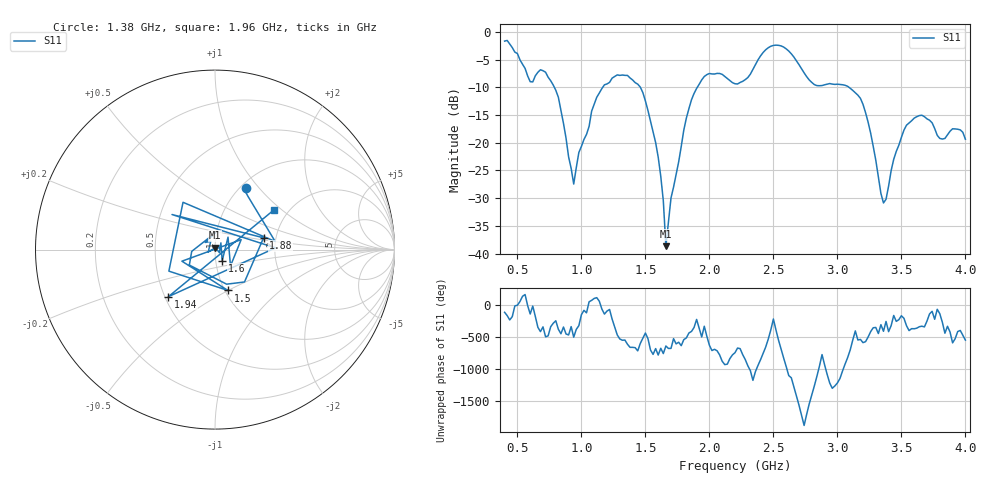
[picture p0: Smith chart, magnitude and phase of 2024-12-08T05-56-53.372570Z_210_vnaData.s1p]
!Created with skrf (http://scikit-rf.org).
# Hz S RI R 50.0
!freq ReS11 ImS11
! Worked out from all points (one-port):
!   181 points, 400 MHz to 4 GHz, reference 50 ohm
!   lowest |S11| = -38.7 dB at 1.66 GHz (marker M1), VSWR 1.02, Z = 50.1 + j1.16 ohm
!   |S11| at or under -10 dB: 788.7 MHz to 1.166 GHz (377.7 MHz wide, 38.6 % of centre); 1.461 GHz to 1.905 GHz (444.2 MHz wide, 26.4 % of centre); 3.091 GHz to end of sweep
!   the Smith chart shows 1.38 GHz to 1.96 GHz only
!   S11 on the Smith chart (normalised r, x): 1.38 GHz: 1.06, +0.85; 1.5 GHz: 1.03, -0.50; 1.6 GHz: 1.07, -0.13; 1.88 GHz: 1.72, +0.24; 1.94 GHz: 0.52, -0.32; 1.96 GHz: 1.69, +0.89
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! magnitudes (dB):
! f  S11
! 400 MHz  -1.7
! 600 MHz  -9.0
! 720 MHz  -7.3
! 860 MHz  -16.5
! 940 MHz  -27.5
! 980 MHz  -21.8
! 1.12 GHz  -11.8
! 1.3 GHz  -7.8
! 1.38 GHz  -8.3
! 1.5 GHz  -12.5
! 1.6 GHz  -22.6
! 1.64 GHz  -30.5
! 1.66 GHz  -38.7
! 1.7 GHz  -30.0
! 1.76 GHz  -23.4
! 1.88 GHz  -11.1
! 1.94 GHz  -8.7
! 1.96 GHz  -8.0
! 2.2 GHz  -9.4
! 2.48 GHz  -2.6
! 2.66 GHz  -4.5
! 2.82 GHz  -9.5
! 3.1 GHz  -10.2
! 3.22 GHz  -14.6
! 3.36 GHz  -30.9
! 3.44 GHz  -23.0
! 3.56 GHz  -16.4
! 4 GHz  -19.4
